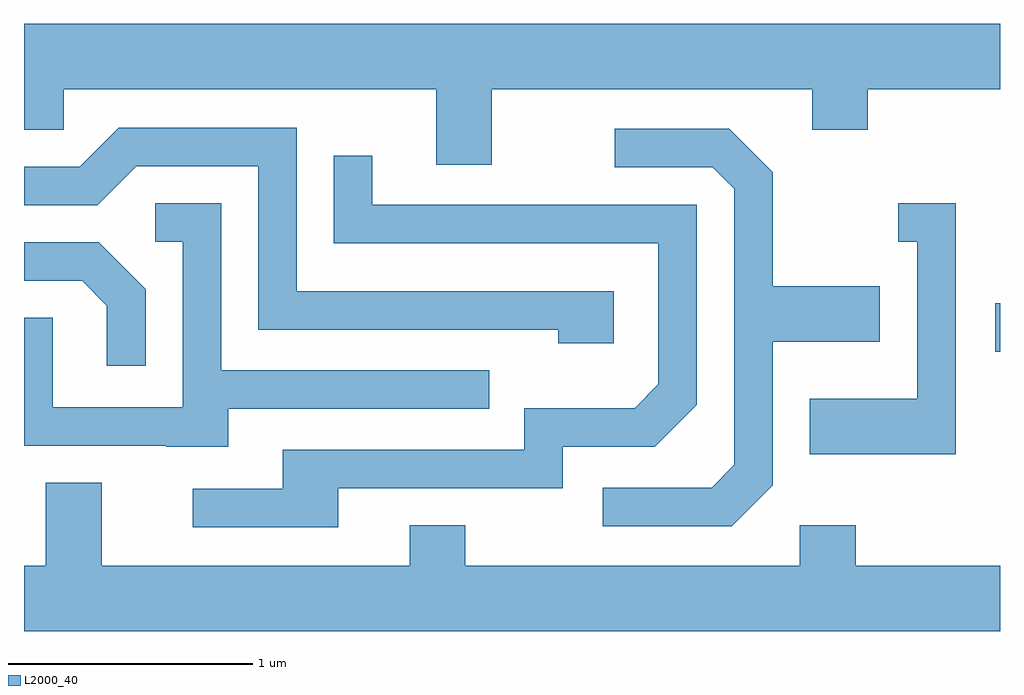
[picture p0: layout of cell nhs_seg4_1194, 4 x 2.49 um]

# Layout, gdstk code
import gdstk
lib = gdstk.Library(unit=1e-6, precision=1e-09)
def R(c, l, rs):  # rectangles x0, y0, x1, y1
    for r in rs: c.add(gdstk.rectangle(r[:2], r[2:], *l))
def P(c, l, *ps):  # polygons
    for p in ps: c.add(gdstk.Polygon(p, *l))
L2000_40 = (2000, 40)

nhs_seg4_1194 = lib.new_cell('nhs_seg4_1194')
R(nhs_seg4_1194, L2000_40, [(223.591,1331.401,223.611,1331.599)])
P(nhs_seg4_1194, L2000_40, [(221.529,1332.476),(222.841,1332.476),(222.841,1332.311),(223.069,1332.311),(223.069,1332.476),(223.611,1332.476),(223.611,1332.744),(219.611,1332.744),(219.611,1332.311),(219.774,1332.311),(219.774,1332.476),(221.301,1332.476),(221.301,1332.166),(221.529,1332.166)],
  [(222.029,1331.649),(220.729,1331.649),(220.729,1332.319),(219.999,1332.319),(219.839,1332.159),(219.611,1332.159),(219.611,1332.001),(219.912,1332.001),(220.072,1332.161),(220.571,1332.161),(220.571,1331.491),(221.801,1331.491),(221.801,1331.436),(222.029,1331.436)],
  [(222.679,1330.854),(222.679,1331.441),(223.119,1331.441),(223.119,1331.669),(222.679,1331.669),(222.679,1332.137),(222.502,1332.314),(222.033,1332.314),(222.033,1332.156),(222.434,1332.156),(222.521,1332.069),(222.521,1330.937),(222.429,1330.844),(221.983,1330.844),(221.983,1330.686),(222.512,1330.686)],
  [(220.899,1330.841),(221.819,1330.841),(221.819,1331.011),(222.197,1331.011),(222.369,1331.184),(222.369,1332.004),(221.039,1332.004),(221.039,1332.203),(220.881,1332.203),(220.881,1331.846),(222.211,1331.846),(222.211,1331.267),(222.114,1331.169),(221.661,1331.169),(221.661,1330.999),(220.671,1330.999),(220.671,1330.839),(220.303,1330.839),(220.303,1330.681),(220.899,1330.681)],
  [(220.449,1331.166),(221.518,1331.166),(221.518,1331.324),(220.419,1331.324),(220.419,1332.009),(220.148,1332.009),(220.148,1331.851),(220.261,1331.851),(220.261,1331.174),(219.729,1331.174),(219.729,1331.539),(219.611,1331.539),(219.611,1331.016),(220.195,1331.016),(220.195,1331.011),(220.449,1331.011)],
  [(223.429,1332.009),(223.193,1332.009),(223.193,1331.851),(223.271,1331.851),(223.271,1331.209),(222.831,1331.209),(222.831,1330.981),(223.429,1330.981)],
  [(220.109,1331.657),(219.917,1331.849),(219.611,1331.849),(219.611,1331.691),(219.849,1331.691),(219.951,1331.589),(219.951,1331.343),(220.109,1331.343)],
  [(223.611,1330.524),(223.019,1330.524),(223.019,1330.689),(222.791,1330.689),(222.791,1330.524),(221.419,1330.524),(221.419,1330.689),(221.191,1330.689),(221.191,1330.524),(219.929,1330.524),(219.929,1330.864),(219.701,1330.864),(219.701,1330.524),(219.611,1330.524),(219.611,1330.256),(223.611,1330.256)])

lib.write_gds('nhs_seg4_1194.gds')
